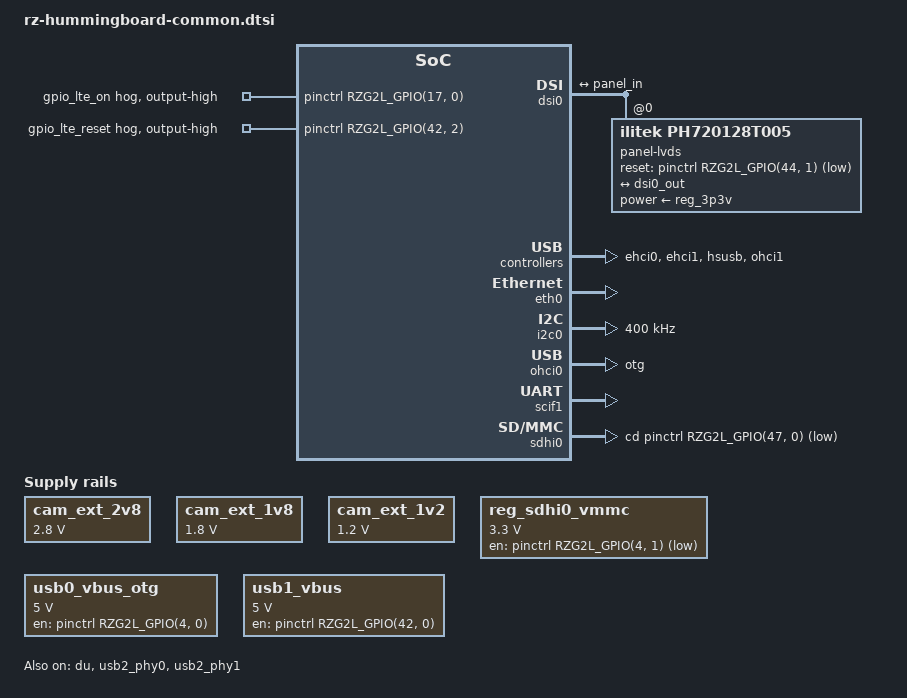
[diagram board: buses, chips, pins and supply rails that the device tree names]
// SPDX-License-Identifier: (GPL-2.0-only OR BSD-2-Clause)
/*
 * Device Tree Source for the RZ Solidrun HummingBoards
 *
 * Copyright (C) 2023 SolidRun Ltd.
 */

#include <dt-bindings/gpio/gpio.h>
#include <dt-bindings/pinctrl/rzg2l-pinctrl.h>

/ {
	cam_ext_2v8: 2p8v {
		compatible = "regulator-fixed";
		regulator-name = "camera_ext_2v8";
		regulator-min-microvolt = <2800000>;
		regulator-max-microvolt = <2800000>;
		regulator-always-on;
	};

	cam_ext_1v8: 1p8v {
		compatible = "regulator-fixed";
		regulator-name = "camera_ext_1v8";
		regulator-min-microvolt = <1800000>;
		regulator-max-microvolt = <1800000>;
		regulator-always-on;
	};

	cam_ext_1v2: 1p2v {
		compatible = "regulator-fixed";
		regulator-name = "camera_ext_1v2";
		regulator-min-microvolt = <1200000>;
		regulator-max-microvolt = <1200000>;
		regulator-always-on;
	};

	reg_sdhi0_vmmc: regulator-sdhi0 {
		compatible = "regulator-fixed";
		regulator-name = "VSD_3V3";
		regulator-min-microvolt = <3300000>;
		regulator-max-microvolt = <3300000>;
		gpio = <&pinctrl RZG2L_GPIO(4, 1) GPIO_ACTIVE_LOW>;
		regulator-always-on;
	};

	usb0_vbus_otg: regulator-usb0-vbus-otg {
		compatible = "regulator-fixed";
		regulator-name = "USB0_VBUS_OTG";
		regulator-min-microvolt = <5000000>;
		regulator-max-microvolt = <5000000>;
		gpio = <&pinctrl RZG2L_GPIO(4, 0) GPIO_ACTIVE_HIGH>;
		gpio-open-drain;
		regulator-always-on;
		enable-active-high;
	};

	usb1_vbus: regulator-usb1-vbus {
		compatible = "regulator-fixed";
		regulator-name = "USB1_VBUS";
		regulator-min-microvolt = <5000000>;
		regulator-max-microvolt = <5000000>;
		gpio = <&pinctrl RZG2L_GPIO(42, 0) GPIO_ACTIVE_HIGH>;
		gpio-open-drain;
		regulator-always-on;
		enable-active-high;
	};
};

&canfd {
	pinctrl-0 = <&can1_pins>;
	pinctrl-names = "default";
	status = "disabled";
	/delete-node/ channel0;
	channel1 {
		renesas,channel = <1>;
		status = "okay";
	};
};

&cru {
	status = "disabled";
};

&csi2 {
	status = "disabled";
};

&dsi0 {
	#address-cells = <1>;
	#size-cells = <0>;
	status = "okay";

	ports {
		port@1 {
			dsi0_out: endpoint {
				data-lanes = <1 2 3 4>;
				remote-endpoint = <&panel_in>;
			};
		};
	};

	panel-lvds@0 {
		compatible = "ilitek,ph720128t005";
		reg = <0>;
		reset-gpios = <&pinctrl RZG2L_GPIO(44, 1) GPIO_ACTIVE_LOW>;
		power-supply = <&reg_3p3v>;
		status = "okay";

		port {
			panel_in: endpoint {
				remote-endpoint = <&dsi0_out>;
			};
		};
	};
};

&du {
	status = "okay";
};

&ehci0 {
	spurious-oc;
	status = "okay";
};

&ehci1 {
	spurious-oc;
	status = "okay";
};

&eth0 {
	status = "okay";
};

&hsusb {
	status = "okay";
};

&i2c0 {
	pinctrl-0 = <&i2c0_pins>;
	pinctrl-names = "default";
	clock-frequency = <400000>;
	status = "okay";
};

&ohci0 {
	spurious-oc;
	dr_mode = "otg";
	status = "okay";
};

&ohci1 {
	spurious-oc;
	status = "okay";
};

&pinctrl {
	gpio-lte_on {
		gpio-hog;
		gpios = <RZG2L_GPIO(17, 0) GPIO_ACTIVE_HIGH>;
		output-high;
		line-name = "gpio_lte_on";
	};

	gpio-lte_reset {
		gpio-hog;
		gpios = <RZG2L_GPIO(42, 2) GPIO_ACTIVE_HIGH>;
		output-high;
		line-name = "gpio_lte_reset";
	};
};

&scif1 {
	pinctrl-0 = <&scif1_pins>;
	pinctrl-names = "default";
	//uart-has-rtscts;
	status = "okay";
};

/* uSD */
&sdhi0 {
#if 0
	/* This is just a reference node if a customer is not using
	 * the sdhi0 node on the SOM for the eMMC. These properties
	 * are adjusted in our boot-loader depending on the sdio_select
	 * env variable.
	 */
	pinctrl-0 = <&sdhi0_pins>;
	pinctrl-1 = <&sdhi0_pins_uhs>;
	pinctrl-names = "default", "state_uhs";

	vmmc-supply = <&reg_sdhi0_vmmc>;
	vqmmc-supply = <&reg_sdhi0_vccq>;
	sd-uhs-sdr50;
	sd-uhs-sdr104;
	bus-width = <4>;
	max-frequency = <50000000>; /* 50MiB */
	status = "disabled";
#endif
	cd-gpios = <&pinctrl RZG2L_GPIO(47, 0) GPIO_ACTIVE_LOW>;
};

&usb2_phy0 {
	status = "okay";
};

&usb2_phy1 {
	status = "okay";
};
